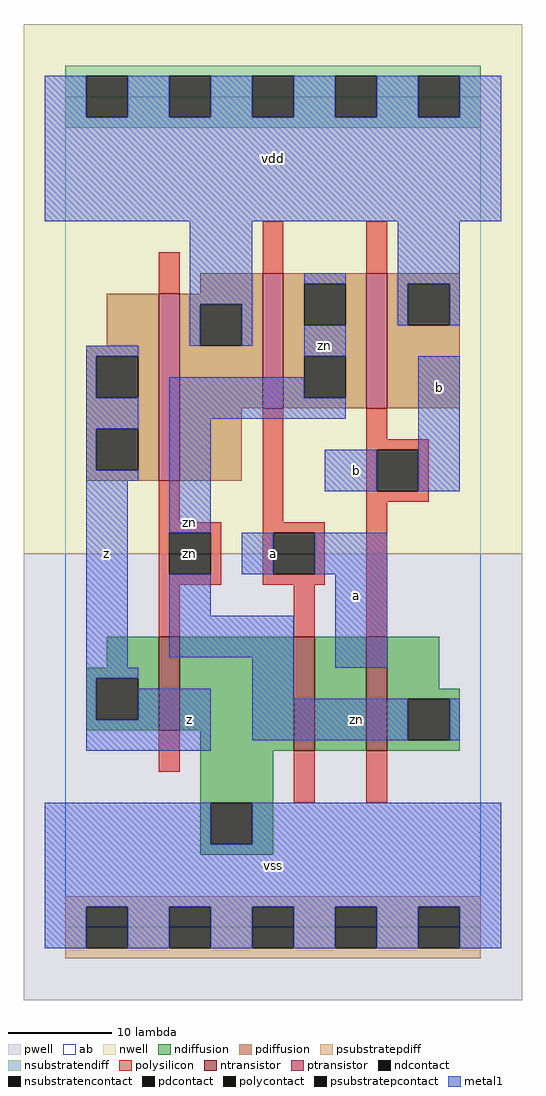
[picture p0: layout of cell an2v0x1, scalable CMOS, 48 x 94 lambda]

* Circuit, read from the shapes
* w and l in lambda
.subckt an2v0x1 a b vdd vss z zn
M1 vss zn z vss nfet w=9 l=2
M2 n1 a vss vss nfet w=11 l=2
M3 zn b n1 vss nfet w=11 l=2
M4 vdd zn z vdd pfet w=18 l=2
M5 zn a vdd vdd pfet w=13 l=2
M6 vdd b zn vdd pfet w=13 l=2
.ends

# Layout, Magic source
magic
tech scmos
<< ab >>
rect 0 0 40 80
<< pwell >>
rect -4 -7 44 36
<< nwell >>
rect -4 36 44 87
<< polysilicon >>
rect 9 61 11 65
rect 19 63 21 68
rect 29 63 31 68
rect 9 39 11 43
rect 19 39 21 50
rect 29 47 31 50
rect 29 46 35 47
rect 29 42 30 46
rect 34 42 35 46
rect 29 41 35 42
rect 9 38 15 39
rect 9 34 10 38
rect 14 34 15 38
rect 9 33 15 34
rect 19 38 25 39
rect 19 34 20 38
rect 24 34 25 38
rect 19 33 25 34
rect 9 28 11 33
rect 22 28 24 33
rect 29 28 31 41
rect 9 15 11 19
rect 22 12 24 17
rect 29 12 31 17
<< ndiffusion >>
rect 4 25 9 28
rect 2 24 9 25
rect 2 20 3 24
rect 7 20 9 24
rect 2 19 9 20
rect 11 19 22 28
rect 13 17 22 19
rect 24 17 29 28
rect 31 23 36 28
rect 31 22 38 23
rect 31 18 33 22
rect 37 18 38 22
rect 31 17 38 18
rect 13 12 20 17
rect 13 8 14 12
rect 18 8 20 12
rect 13 7 20 8
<< pdiffusion >>
rect 13 61 19 63
rect 4 56 9 61
rect 2 55 9 56
rect 2 51 3 55
rect 7 51 9 55
rect 2 48 9 51
rect 2 44 3 48
rect 7 44 9 48
rect 2 43 9 44
rect 11 60 19 61
rect 11 56 13 60
rect 17 56 19 60
rect 11 50 19 56
rect 21 62 29 63
rect 21 58 23 62
rect 27 58 29 62
rect 21 55 29 58
rect 21 51 23 55
rect 27 51 29 55
rect 21 50 29 51
rect 31 62 38 63
rect 31 58 33 62
rect 37 58 38 62
rect 31 50 38 58
rect 11 43 17 50
<< metal1 >>
rect -2 78 2 82
rect 6 78 10 82
rect 14 78 18 82
rect 22 78 26 82
rect 30 78 34 82
rect 38 78 42 82
rect -2 68 42 78
rect 12 60 18 68
rect 12 56 13 60
rect 17 56 18 60
rect 23 62 27 63
rect 32 62 38 68
rect 32 58 33 62
rect 37 58 38 62
rect 2 55 7 56
rect 2 51 3 55
rect 23 55 27 58
rect 2 48 7 51
rect 2 44 3 48
rect 2 43 7 44
rect 10 51 23 53
rect 10 49 27 51
rect 2 25 6 43
rect 10 38 14 49
rect 25 42 30 46
rect 34 42 38 55
rect 17 34 20 38
rect 24 34 31 38
rect 10 30 14 34
rect 10 26 22 30
rect 2 24 7 25
rect 2 20 3 24
rect 7 20 14 23
rect 2 17 14 20
rect 18 22 22 26
rect 26 25 31 34
rect 18 18 33 22
rect 37 18 38 22
rect -2 8 14 12
rect 18 8 42 12
rect -2 2 42 8
rect -2 -2 2 2
rect 6 -2 10 2
rect 14 -2 18 2
rect 22 -2 26 2
rect 30 -2 34 2
rect 38 -2 42 2
<< ntransistor >>
rect 9 19 11 28
rect 22 17 24 28
rect 29 17 31 28
<< ptransistor >>
rect 9 43 11 61
rect 19 50 21 63
rect 29 50 31 63
<< polycontact >>
rect 30 42 34 46
rect 10 34 14 38
rect 20 34 24 38
<< ndcontact >>
rect 3 20 7 24
rect 33 18 37 22
rect 14 8 18 12
<< pdcontact >>
rect 3 51 7 55
rect 3 44 7 48
rect 13 56 17 60
rect 23 58 27 62
rect 23 51 27 55
rect 33 58 37 62
<< psubstratepcontact >>
rect 2 -2 6 2
rect 10 -2 14 2
rect 18 -2 22 2
rect 26 -2 30 2
rect 34 -2 38 2
<< nsubstratencontact >>
rect 2 78 6 82
rect 10 78 14 82
rect 18 78 22 82
rect 26 78 30 82
rect 34 78 38 82
<< psubstratepdiff >>
rect 0 2 40 3
rect 0 -2 2 2
rect 6 -2 10 2
rect 14 -2 18 2
rect 22 -2 26 2
rect 30 -2 34 2
rect 38 -2 40 2
rect 0 -3 40 -2
<< nsubstratendiff >>
rect 0 82 40 83
rect 0 78 2 82
rect 6 78 10 82
rect 14 78 18 82
rect 22 78 26 82
rect 30 78 34 82
rect 38 78 40 82
rect 0 77 40 78
<< labels >>
rlabel polycontact 12 36 12 36 6 zn
rlabel metal1 4 36 4 36 6 z
rlabel metal1 12 20 12 20 6 z
rlabel metal1 12 39 12 39 6 zn
rlabel metal1 20 6 20 6 6 vss
rlabel metal1 20 36 20 36 6 a
rlabel metal1 28 32 28 32 6 a
rlabel metal1 28 44 28 44 6 b
rlabel metal1 25 56 25 56 6 zn
rlabel metal1 20 74 20 74 6 vdd
rlabel metal1 28 20 28 20 6 zn
rlabel metal1 36 52 36 52 6 b
<< end >>
